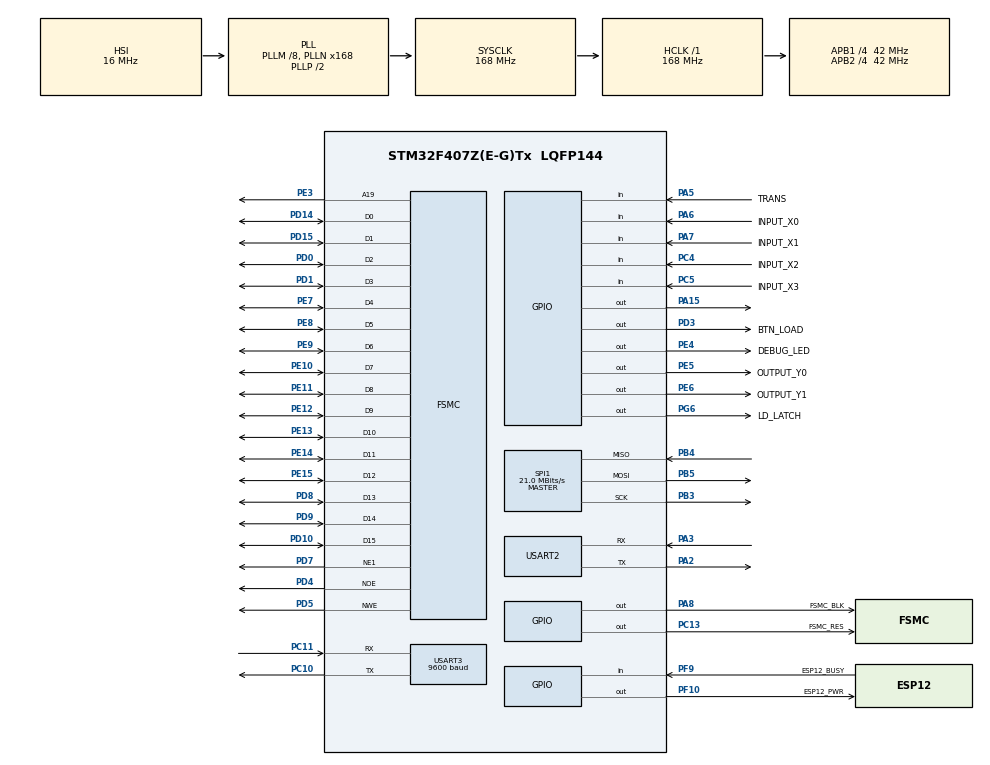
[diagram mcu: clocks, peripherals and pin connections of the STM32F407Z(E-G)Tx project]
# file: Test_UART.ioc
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FSMC.AddressSetupTime1=0xf
FSMC.BusTurnAroundDuration1=0
FSMC.DataSetupTime1=60
FSMC.ExtendedAddressSetupTime1=8
FSMC.ExtendedBusTurnAroundDuration1=0
FSMC.ExtendedDataSetupTime1=9
FSMC.ExtendedMode1=FSMC_EXTENDED_MODE_ENABLE
Mcu.Family=STM32F4
Mcu.Name=STM32F407Z(E-G)Tx
Mcu.Package=LQFP144
NVIC.PriorityGroup=NVIC_PRIORITYGROUP_4
NVIC.TIM2_IRQn=true\:0\:0\:false\:false\:true\:true\:true
NVIC.USART2_IRQn=true\:0\:0\:false\:false\:true\:true\:true
NVIC.USART3_IRQn=true\:1\:0\:true\:false\:true\:true\:true
PA13.Mode=Serial_Wire
PA13.Signal=SYS_JTMS-SWDIO
PA14.Mode=Serial_Wire
PA14.Signal=SYS_JTCK-SWCLK
PA15.Signal=GPIO_Output
PA2.Mode=Asynchronous
PA2.Signal=USART2_TX
PA3.Mode=Asynchronous
PA3.Signal=USART2_RX
PA5.GPIO_Label=TRANS
PA5.GPIO_PuPd=GPIO_PULLDOWN
PA5.Signal=GPIO_Input
PA6.GPIO_Label=INPUT_X0
PA6.Signal=GPIO_Input
PA7.GPIO_Label=INPUT_X1
PA7.Signal=GPIO_Input
PA8.GPIO_Label=FSMC_BLK
PA8.Signal=GPIO_Output
PB3.Mode=Full_Duplex_Master
PB3.Signal=SPI1_SCK
PB4.Mode=Full_Duplex_Master
PB4.Signal=SPI1_MISO
PB5.Mode=Full_Duplex_Master
PB5.Signal=SPI1_MOSI
PC10.Mode=Asynchronous
PC10.Signal=USART3_TX
PC11.Mode=Asynchronous
PC11.Signal=USART3_RX
PC13-ANTI_TAMP.GPIO_Label=FSMC_RES
PC13-ANTI_TAMP.Signal=GPIO_Output
PC4.GPIO_Label=INPUT_X2
PC4.Signal=GPIO_Input
PC5.GPIO_Label=INPUT_X3
PC5.Signal=GPIO_Input
PD0.Signal=FSMC_D2_DA2
PD1.Signal=FSMC_D3_DA3
PD10.Signal=FSMC_D15_DA15
PD14.Signal=FSMC_D0_DA0
PD15.Signal=FSMC_D1_DA1
PD3.GPIO_Label=BTN_LOAD
PD3.Signal=GPIO_Output
PD4.Signal=FSMC_NOE
PD5.Signal=FSMC_NWE
PD7.Mode=NorPsramChipSelect1_1
PD7.Signal=FSMC_NE1
PD8.Signal=FSMC_D13_DA13
PD9.Signal=FSMC_D14_DA14
PE10.Signal=FSMC_D7_DA7
PE11.Signal=FSMC_D8_DA8
PE12.Signal=FSMC_D9_DA9
PE13.Signal=FSMC_D10_DA10
PE14.Signal=FSMC_D11_DA11
PE15.Signal=FSMC_D12_DA12
PE3.Signal=FSMC_A19
PE4.GPIO_Label=DEBUG_LED
PE4.Signal=GPIO_Output
PE5.GPIO_Label=OUTPUT_Y0
PE5.Signal=GPIO_Output
PE6.GPIO_Label=OUTPUT_Y1
PE6.Signal=GPIO_Output
PE7.Signal=FSMC_D4_DA4
PE8.Signal=FSMC_D5_DA5
PE9.Signal=FSMC_D6_DA6
PF10.GPIO_Label=ESP12_PWR
PF10.Signal=GPIO_Output
PF9.GPIO_Label=ESP12_BUSY
PF9.Signal=GPIO_Input
PG6.GPIO_Label=LD_LATCH
PG6.Signal=GPIO_Output
PH0-OSC_IN.Mode=HSE-External-Oscillator
PH0-OSC_IN.Signal=RCC_OSC_IN
PH1-OSC_OUT.Mode=HSE-External-Oscillator
PH1-OSC_OUT.Signal=RCC_OSC_OUT
ProjectManager.HeapSize=0x200
ProjectManager.StackSize=0x400
ProjectManager.TargetToolchain=STM32CubeIDE
RCC.48MHZClocksFreq_Value=84000000
RCC.AHBFreq_Value=168000000
RCC.APB1CLKDivider=RCC_HCLK_DIV4
RCC.APB1Freq_Value=42000000
RCC.APB1TimFreq_Value=84000000
RCC.APB2CLKDivider=RCC_HCLK_DIV4
RCC.APB2Freq_Value=42000000
RCC.APB2TimFreq_Value=84000000
RCC.CortexFreq_Value=168000000
RCC.HCLKFreq_Value=168000000
RCC.HSE_VALUE=8000000
RCC.HSI_VALUE=16000000
RCC.LSE_VALUE=32768
RCC.PLLM=8
RCC.PLLN=168
RCC.SYSCLKFreq_VALUE=168000000
RCC.SYSCLKSource=RCC_SYSCLKSOURCE_PLLCLK
RCC.VCOOutputFreq_Value=336000000
SH.FSMC_A19.0=FSMC_A19,A19_1
SH.FSMC_D0_DA0.0=FSMC_D0,16b-d1
SH.FSMC_D10_DA10.0=FSMC_D10,16b-d1
SH.FSMC_D11_DA11.0=FSMC_D11,16b-d1
SH.FSMC_D12_DA12.0=FSMC_D12,16b-d1
SH.FSMC_D13_DA13.0=FSMC_D13,16b-d1
SH.FSMC_D14_DA14.0=FSMC_D14,16b-d1
SH.FSMC_D15_DA15.0=FSMC_D15,16b-d1
SH.FSMC_D1_DA1.0=FSMC_D1,16b-d1
SH.FSMC_D2_DA2.0=FSMC_D2,16b-d1
SH.FSMC_D3_DA3.0=FSMC_D3,16b-d1
SH.FSMC_D4_DA4.0=FSMC_D4,16b-d1
SH.FSMC_D5_DA5.0=FSMC_D5,16b-d1
SH.FSMC_D6_DA6.0=FSMC_D6,16b-d1
SH.FSMC_D7_DA7.0=FSMC_D7,16b-d1
SH.FSMC_D8_DA8.0=FSMC_D8,16b-d1
SH.FSMC_D9_DA9.0=FSMC_D9,16b-d1
SH.FSMC_NOE.0=FSMC_NOE,Lcd1
SH.FSMC_NWE.0=FSMC_NWE,Lcd1
SPI1.BaudRatePrescaler=SPI_BAUDRATEPRESCALER_2
SPI1.CalculateBaudRate=21.0 MBits/s
SPI1.Direction=SPI_DIRECTION_2LINES
SPI1.Mode=SPI_MODE_MASTER
SPI1.VirtualType=VM_MASTER
TIM2.Period=100-1
TIM2.Prescaler=840-1
USART2.VirtualMode=VM_ASYNC
USART3.BaudRate=9600
USART3.VirtualMode=VM_ASYNC
VP_TIM2_VS_ClockSourceINT.Mode=Internal
board=custom

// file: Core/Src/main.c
/* USER CODE BEGIN Header */
/**
  ******************************************************************************
  * @file           : main.c
  * @brief          : Main program body
  ******************************************************************************
  * @attention
  *
  * <h2><center>&copy; Copyright (c) 2025 STMicroelectronics.
  * All rights reserved.</center></h2>
  *
  * This software component is licensed by ST under BSD 3-Clause license,
  * the "License"; You may not use this file except in compliance with the
  * License. You may obtain a copy of the License at:
  *                        opensource.org/licenses/BSD-3-Clause
  *
  ******************************************************************************
  */
/* USER CODE END Header */
#include "main.h"
#include "spi.h"
#include "tim.h"
#include "usart.h"
#include "gpio.h"
#include "fsmc.h"

/* USER CODE BEGIN Includes */
#include "lcd.h"

/* USER CODE END Includes */

void SystemClock_Config(void);

int main(void)
{

  /* MCU Configuration--------------------------------------------------------*/

  /* Reset of all peripherals, Initializes the Flash interface and the Systick. */
  HAL_Init();

  /* Configure the system clock */
  SystemClock_Config();

  /* Initialize all configured peripherals */
  MX_GPIO_Init();
  MX_TIM2_Init();
  MX_SPI1_Init();
  MX_FSMC_Init();
  MX_USART3_UART_Init();
  MX_USART2_UART_Init();
  /* USER CODE BEGIN 2 */
  lcd_init();
  //uint8_t state = 0;
  int msg[8] = {1, 1, 1, 1, 1, 1, 1, 1};

  /* USER CODE END 2 */

  /* Infinite loop */
  /* USER CODE BEGIN WHILE */

  while (1)
  {
	  /*lcd_ShowIntNum(50, 50, 20, 2, GREEN,BLACK, 24);
	  state = HAL_GPIO_ReadPin(TRANS_GPIO_Port, TRANS_Pin);
	  if(state == 0){
		  HAL_GPIO_WritePin(GPIOE, GPIO_PIN_4, SET);
	  }
	  else{
		  HAL_GPIO_WritePin(GPIOE, GPIO_PIN_4, RESET);
	  }*/

	  //	 if (timerFlag(0)){
	  //		 timerSet(0, 4000);
	  //		 HAL_GPIO_TogglePin(DEBUG_LED_GPIO_Port, DEBUG_LED_Pin);
	  //	 }
	  int x = 50;
	  int y = 100;
	  	  if (! HAL_GPIO_ReadPin(TRANS_GPIO_Port, TRANS_Pin)){
	  		  HAL_Delay(1500);
	  		  for (int i = 7; i >= 0 ; i--){
	  			  msg[i] = HAL_GPIO_ReadPin(TRANS_GPIO_Port, TRANS_Pin);
	  			  lcd_ShowIntNum(x, y, msg[i], 1, GREEN, BLACK, 24);
	  			  x= x + 20;
	  			  HAL_Delay(1000);
	  		  }
	  		  if (HAL_GPIO_ReadPin(TRANS_GPIO_Port, TRANS_Pin)){
	  			  //đ�?c thành công, giá trị lưu trong mảng msg

	  			  //Hiển thị lên lcd.
	  		  }
	  		  else {
	  			  //lỗi hiển thị lỗi.
	  		  }

	  	  } else {
	  		  //Chưa có start bit

	  	  }

    /* USER CODE END WHILE */

  }
}

void SystemClock_Config(void)
{
  RCC_OscInitTypeDef RCC_OscInitStruct = {0};
  RCC_ClkInitTypeDef RCC_ClkInitStruct = {0};

  /** Configure the main internal regulator output voltage
  */
  __HAL_RCC_PWR_CLK_ENABLE();
  __HAL_PWR_VOLTAGESCALING_CONFIG(PWR_REGULATOR_VOLTAGE_SCALE1);
  /** Initializes the RCC Oscillators according to the specified parameters
  * in the RCC_OscInitTypeDef structure.
  */
  RCC_OscInitStruct.OscillatorType = RCC_OSCILLATORTYPE_HSI;
  RCC_OscInitStruct.HSIState = RCC_HSI_ON;
  RCC_OscInitStruct.HSICalibrationValue = RCC_HSICALIBRATION_DEFAULT;
  RCC_OscInitStruct.PLL.PLLState = RCC_PLL_ON;
  RCC_OscInitStruct.PLL.PLLSource = RCC_PLLSOURCE_HSI;
  RCC_OscInitStruct.PLL.PLLM = 8;
  RCC_OscInitStruct.PLL.PLLN = 168;
  RCC_OscInitStruct.PLL.PLLP = RCC_PLLP_DIV2;
  RCC_OscInitStruct.PLL.PLLQ = 4;
  if (HAL_RCC_OscConfig(&RCC_OscInitStruct) != HAL_OK)
  {
    Error_Handler();
  }
  /** Initializes the CPU, AHB and APB buses clocks
  */
  RCC_ClkInitStruct.ClockType = RCC_CLOCKTYPE_HCLK|RCC_CLOCKTYPE_SYSCLK
                              |RCC_CLOCKTYPE_PCLK1|RCC_CLOCKTYPE_PCLK2;
  RCC_ClkInitStruct.SYSCLKSource = RCC_SYSCLKSOURCE_PLLCLK;
  RCC_ClkInitStruct.AHBCLKDivider = RCC_SYSCLK_DIV1;
  RCC_ClkInitStruct.APB1CLKDivider = RCC_HCLK_DIV4;
  RCC_ClkInitStruct.APB2CLKDivider = RCC_HCLK_DIV4;

  if (HAL_RCC_ClockConfig(&RCC_ClkInitStruct, FLASH_LATENCY_5) != HAL_OK)
  {
    Error_Handler();
  }
}

void Error_Handler(void)
{
  __disable_irq();
  while (1)
  {
  }
}

/************************ (C) COPYRIGHT STMicroelectronics *****END OF FILE****/
